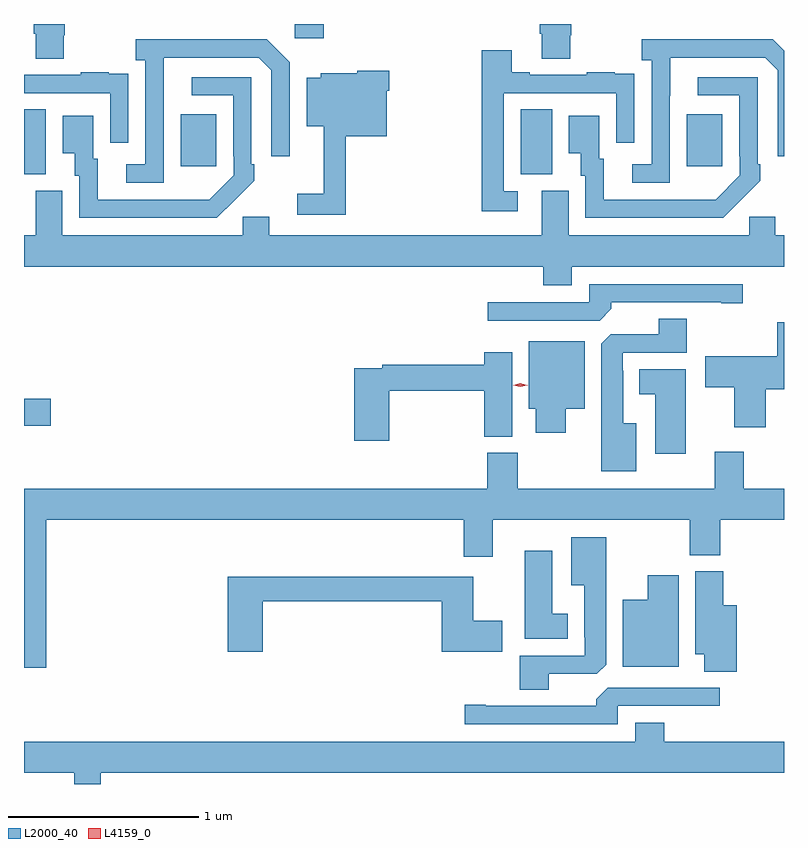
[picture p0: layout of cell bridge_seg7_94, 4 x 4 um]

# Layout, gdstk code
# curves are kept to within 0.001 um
import gdstk
lib = gdstk.Library(unit=1e-6, precision=1e-09)
def R(c, l, rs):  # rectangles x0, y0, x1, y1
    for r in rs: c.add(gdstk.rectangle(r[:2], r[2:], *l))
def P(c, l, *ps):  # polygons
    for p in ps: c.add(gdstk.Polygon(p, *l))
L2000_40 = (2000, 40)
L4159_0 = (4159, 0)

bridge_seg7_94 = lib.new_cell('bridge_seg7_94')
R(bridge_seg7_94, L2000_40, [(1082.895,1002.442,1083.037,1002.584), (1082.895,1003.765,1083.01,1004.108), (1085.51,1003.765,1085.674,1004.108), (1083.719,1003.809,1083.907,1004.083), (1086.383,1003.809,1086.571,1004.083), (1084.32,1004.481,1084.472,1004.557)])
P(bridge_seg7_94, L2000_40, [(1085.769,1004.499),(1085.774,1004.499),(1085.774,1004.557),(1085.609,1004.557),(1085.609,1004.506),(1085.621,1004.506),(1085.621,1004.374),(1085.769,1004.374)],
  [(1083.105,1004.499),(1083.11,1004.499),(1083.11,1004.557),(1082.945,1004.557),(1082.945,1004.506),(1082.957,1004.506),(1082.957,1004.374),(1083.105,1004.374)],
  [(1086.294,1004.179),(1086.295,1004.379),(1086.795,1004.379),(1086.861,1004.313),(1086.861,1003.86),(1086.895,1003.86),(1086.895,1004.417),(1086.836,1004.476),(1086.147,1004.476),(1086.147,1004.366),(1086.198,1004.366),(1086.198,1003.818),(1086.096,1003.818),(1086.096,1003.722),(1086.294,1003.722)],
  [(1083.63,1004.179),(1083.631,1004.379),(1084.131,1004.379),(1084.197,1004.313),(1084.197,1003.86),(1084.293,1003.86),(1084.293,1004.355),(1084.172,1004.476),(1083.483,1004.476),(1083.483,1004.366),(1083.534,1004.366),(1083.534,1003.818),(1083.432,1003.818),(1083.432,1003.722),(1083.63,1003.722)],
  [(1085.494,1003.677),(1085.421,1003.677),(1085.421,1004.193),(1086.012,1004.193),(1086.012,1003.932),(1086.108,1003.932),(1086.108,1004.186),(1086.107,1004.186),(1086.107,1004.295),(1086.005,1004.295),(1086.005,1004.302),(1085.857,1004.302),(1085.857,1004.289),(1085.557,1004.289),(1085.557,1004.302),(1085.461,1004.302),(1085.461,1004.419),(1085.305,1004.419),(1085.305,1003.572),(1085.494,1003.572)],
  [(1084.589,1003.967),(1084.804,1003.967),(1084.804,1004.207),(1084.817,1004.207),(1084.817,1004.311),(1084.65,1004.311),(1084.65,1004.299),(1084.458,1004.299),(1084.458,1004.275),(1084.382,1004.275),(1084.382,1004.018),(1084.472,1004.018),(1084.472,1003.663),(1084.332,1003.663),(1084.332,1003.554),(1084.589,1003.554)],
  [(1083.444,1004.186),(1083.443,1004.186),(1083.443,1004.295),(1083.341,1004.295),(1083.341,1004.302),(1083.193,1004.302),(1083.193,1004.289),(1082.895,1004.289),(1082.895,1004.193),(1083.348,1004.193),(1083.348,1003.932),(1083.444,1003.932)],
  [(1084.001,1003.627),(1084.002,1003.626),(1084.107,1003.731),(1084.107,1003.819),(1084.092,1003.819),(1084.092,1004.277),(1083.777,1004.277),(1083.777,1004.181),(1083.996,1004.181),(1083.996,1003.861),(1083.999,1003.861),(1083.999,1003.761),(1083.871,1003.633),(1083.283,1003.632),(1083.283,1003.848),(1083.259,1003.848),(1083.259,1004.074),(1083.098,1004.074),(1083.098,1003.877),(1083.161,1003.877),(1083.161,1003.758),(1083.186,1003.758),(1083.186,1003.536),(1083.91,1003.536)],
  [(1086.665,1003.627),(1086.666,1003.626),(1086.771,1003.731),(1086.771,1003.819),(1086.756,1003.819),(1086.756,1004.277),(1086.441,1004.277),(1086.441,1004.181),(1086.66,1004.181),(1086.66,1003.861),(1086.663,1003.861),(1086.663,1003.761),(1086.535,1003.633),(1085.947,1003.632),(1085.947,1003.848),(1085.923,1003.848),(1085.923,1004.074),(1085.762,1004.074),(1085.762,1003.877),(1085.825,1003.877),(1085.825,1003.758),(1085.85,1003.758),(1085.85,1003.536),(1086.574,1003.536)],
  [(1085.779,1003.28),(1086.895,1003.28),(1086.895,1003.444),(1086.85,1003.444),(1086.85,1003.542),(1086.711,1003.542),(1086.711,1003.444),(1085.761,1003.444),(1085.761,1003.68),(1085.621,1003.68),(1085.621,1003.444),(1084.186,1003.444),(1084.186,1003.542),(1084.047,1003.542),(1084.047,1003.444),(1083.097,1003.444),(1083.097,1003.68),(1082.957,1003.68),(1082.957,1003.444),(1082.895,1003.444),(1082.895,1003.28),(1085.627,1003.28),(1085.627,1003.181),(1085.779,1003.181)],
  [(1085.987,1003.058),(1085.987,1003.092),(1086.566,1003.092),(1086.566,1003.087),(1086.679,1003.087),(1086.679,1003.188),(1085.871,1003.188),(1085.871,1003.092),(1085.337,1003.092),(1085.337,1002.996),(1085.925,1002.996)],
  [(1086.118,1002.457),(1086.049,1002.457),(1086.049,1002.731),(1086.045,1002.731),(1086.045,1002.828),(1086.384,1002.828),(1086.384,1003.007),(1086.236,1003.007),(1086.236,1002.924),(1085.982,1002.924),(1085.933,1002.875),(1085.933,1002.203),(1086.118,1002.203)],
  [(1086.8,1002.635),(1086.895,1002.635),(1086.895,1002.988),(1086.859,1002.988),(1086.859,1002.808),(1086.48,1002.808),(1086.48,1002.646),(1086.632,1002.646),(1086.632,1002.435),(1086.8,1002.435)],
  [(1085.746,1002.533),(1085.845,1002.533),(1085.845,1002.886),(1085.552,1002.886),(1085.552,1002.533),(1085.588,1002.533),(1085.588,1002.405),(1085.746,1002.405)],
  [(1084.817,1002.628),(1085.318,1002.628),(1085.318,1002.385),(1085.464,1002.385),(1085.464,1002.829),(1085.318,1002.829),(1085.318,1002.764),(1084.78,1002.764),(1084.78,1002.744),(1084.634,1002.744),(1084.634,1002.363),(1084.817,1002.363)],
  [(1086.379,1002.739),(1086.134,1002.739),(1086.134,1002.608),(1086.218,1002.608),(1086.218,1002.294),(1086.379,1002.294)],
  [(1083.011,1001.948),(1085.21,1001.948),(1085.21,1001.754),(1085.362,1001.754),(1085.362,1001.948),(1086.4,1001.948),(1086.4,1001.761),(1086.56,1001.761),(1086.56,1001.948),(1086.895,1001.948),(1086.895,1002.112),(1086.683,1002.112),(1086.683,1002.307),(1086.53,1002.307),(1086.53,1002.112),(1085.493,1002.112),(1085.493,1002.3),(1085.333,1002.3),(1085.333,1002.112),(1082.895,1002.112),(1082.895,1001.169),(1083.011,1001.169)],
  [(1085.656,1001.136),(1085.91,1001.136),(1085.959,1001.185),(1085.959,1001.857),(1085.774,1001.857),(1085.774,1001.603),(1085.843,1001.603),(1085.843,1001.329),(1085.847,1001.329),(1085.847,1001.232),(1085.504,1001.232),(1085.504,1001.053),(1085.656,1001.053)],
  [(1085.758,1001.452),(1085.674,1001.452),(1085.674,1001.785),(1085.531,1001.785),(1085.531,1001.321),(1085.758,1001.321)],
  [(1086.647,1001.497),(1086.575,1001.497),(1086.575,1001.676),(1086.428,1001.676),(1086.428,1001.24),(1086.476,1001.24),(1086.476,1001.149),(1086.647,1001.149)],
  [(1086.34,1001.656),(1086.179,1001.656),(1086.179,1001.527),(1086.047,1001.527),(1086.047,1001.174),(1086.34,1001.174)],
  [(1085.413,1001.415),(1085.26,1001.415),(1085.26,1001.647),(1083.968,1001.647),(1083.968,1001.253),(1084.151,1001.253),(1084.151,1001.518),(1085.093,1001.518),(1085.093,1001.252),(1085.413,1001.252)],
  [(1086.021,1000.968),(1086.556,1000.968),(1086.556,1001.064),(1085.967,1001.064),(1085.906,1001.002),(1085.906,1000.968),(1085.326,1000.968),(1085.326,1000.973),(1085.214,1000.973),(1085.214,1000.872),(1086.021,1000.872)],
  [(1083.298,1000.616),(1086.895,1000.616),(1086.895,1000.78),(1086.266,1000.78),(1086.266,1000.879),(1086.113,1000.879),(1086.113,1000.78),(1082.895,1000.78),(1082.895,1000.616),(1083.159,1000.616),(1083.159,1000.557),(1083.298,1000.557)])
P(bridge_seg7_94, L4159_0, [(1085.507,1002.647),(1085.469,1002.656),(1085.469,1002.657),(1085.469,1002.657),(1085.507,1002.667),(1085.544,1002.657),(1085.545,1002.657),(1085.544,1002.656)])

lib.write_gds('bridge_seg7_94.gds')
